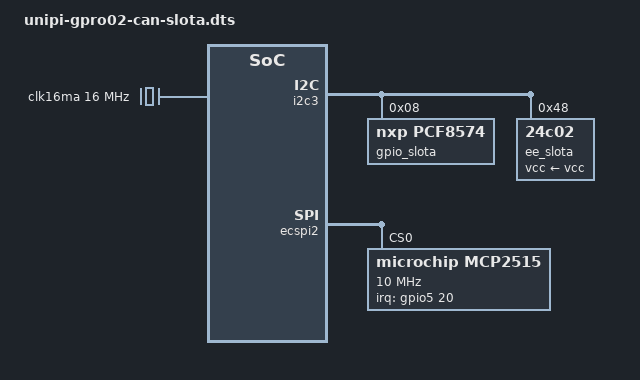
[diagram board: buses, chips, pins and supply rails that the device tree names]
// SPDX-License-Identifier: (GPL-2.0+ OR MIT)
/*
 * Device Tree fragment for Unipi Gate PRO IQRF board, v0.3
 *
 * Copyright 2021 Faster CZ, spol. s r.o.
 *
 * IQRF card is in slot A.
 */

/dts-v1/;

#include <dt-bindings/clock/imx8mm-clock.h>
#include <dt-bindings/reset/imx8mq-reset.h>
#include <dt-bindings/gpio/gpio.h>
#include <dt-bindings/input/input.h>
#include <dt-bindings/interrupt-controller/arm-gic.h>
#include <dt-bindings/reset/imx8mm-dispmix.h>
#include <dt-bindings/thermal/thermal.h>

#include "imx8mm-pinfunc.h"

/plugin/;

/ {
	fragment@0 {
		target = <&i2c3>;
		__overlay__ {
       		#address-cells = <1>;
	    	#size-cells = <0>;

	        gpio_slota: pca9501@8 {
        		compatible = "nxp,pcf8574";
		        gpio-controller;
        		#gpio-cells = <2>;
		        reg = <0x8>;
        	    gpio-line-names = "SLOTA_CAN_LED",
		        	  "SLOTA_CAN_RESET",
        			  "",
		        	  "","","","","";
	        };

            ee_slota@48 {
                compatible = "24c02";
                reg = <0x48>;
                vcc-supply = <&vcc>;
            };
		};
	};

	fragment@1 {
		target-path = "/";
		__overlay__ {
            /* Fixed crystal dedicated to mcp251x */
            clk16ma: clock-16ma {
                compatible = "fixed-clock";
                #clock-cells = <0>;
                clock-frequency = <16000000>;
                clock-output-names = "clk16m";
            };
		};
	};

	fragment@2 {
		target = <&ecspi2>;
		__overlay__ {
	        status = "okay";
       		#address-cells = <1>;
	    	#size-cells = <0>;

        	mcp2515: can@0 {
		        compatible = "microchip,mcp2515";
        		pinctrl-names = "default";
		        pinctrl-0 = <&pinctrl_ecspi_int>;
            	reg = <0>;
                clocks = <&clk16ma>;
                interrupt-parent = <&gpio5>;
                interrupts = <20 IRQ_TYPE_EDGE_FALLING>;   // gpio5.20
		        spi-max-frequency = <10000000>;
        		//vdd-supply = <&reg_3v3>;
		        //xceiver-supply = <&reg_5v0>;
        		status = "okay";
	        };
		};
	};
};

